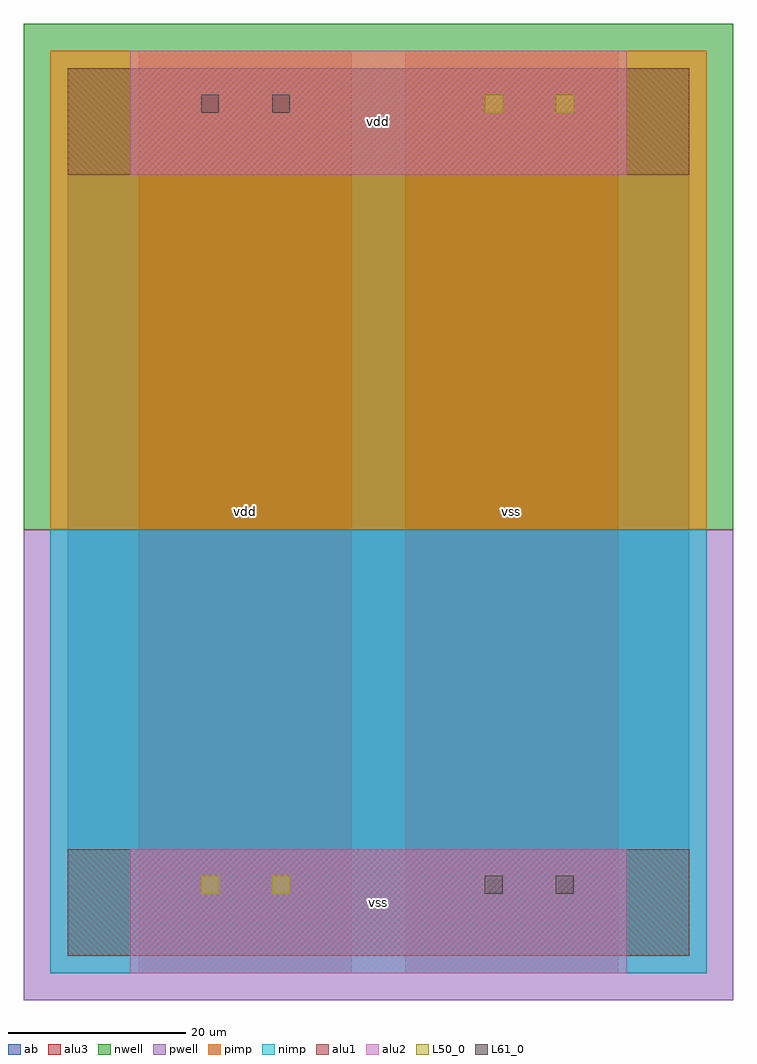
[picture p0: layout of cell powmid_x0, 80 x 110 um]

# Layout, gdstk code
import gdstk
lib = gdstk.Library(unit=1e-6, precision=1e-09)
def R(c, l, rs):  # rectangles x0, y0, x1, y1
    for r in rs: c.add(gdstk.rectangle(r[:2], r[2:], *l))
pwell = (41, 0)
nwell = (42, 0)
pimp = (44, 0)
nimp = (45, 0)
alu1 = (49, 0)
L50_0 = (50, 0)
alu2 = (51, 0)
L61_0 = (61, 0)
alu3 = (62, 0)
ab = (63, 0)

powmid_x0 = lib.new_cell('powmid_x0')
R(powmid_x0, pwell, [(-5,-5,75,48)])
R(powmid_x0, nwell, [(-5,48,75,105)])
R(powmid_x0, pimp, [(-2,48,72,102)])
R(powmid_x0, nimp, [(-2,-2,72,48)])
R(powmid_x0, alu1, [(0,0,70,12), (0,88,70,100)])
R(powmid_x0, L50_0, [(15,7,17,9), (23,7,25,9), (47,95,49,97), (55,95,57,97)])
R(powmid_x0, alu2, [(7,-2,63,12), (7,88,63,102)])
R(powmid_x0, L61_0, [(47,7,49,9), (55,7,57,9), (15,95,17,97), (23,95,25,97)])
R(powmid_x0, alu3, [(8,-2,32,102), (38,-2,62,102)])
R(powmid_x0, ab, [(0,0,70,100)])
powmid_x0.add(gdstk.Label('vss', (35,6), layer=49, texttype=0))
powmid_x0.add(gdstk.Label('vdd', (35,94), layer=49, texttype=0))
powmid_x0.add(gdstk.Label('vss', (35,6), layer=51, texttype=0))
powmid_x0.add(gdstk.Label('vdd', (35,94), layer=51, texttype=0))
powmid_x0.add(gdstk.Label('vdd', (20,50), layer=62, texttype=0))
powmid_x0.add(gdstk.Label('vss', (50,50), layer=62, texttype=0))

lib.write_gds('powmid_x0.gds')
